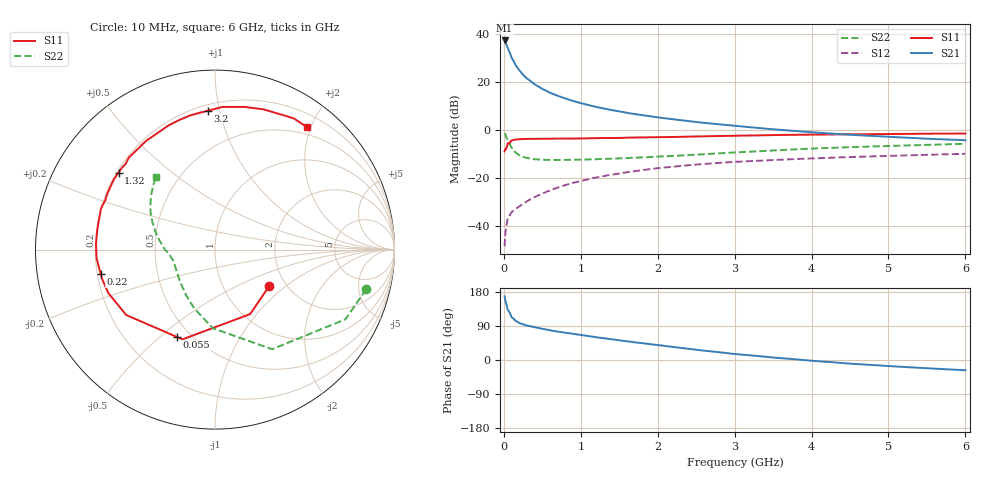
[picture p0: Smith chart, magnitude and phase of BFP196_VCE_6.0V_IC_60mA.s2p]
! Infineon Technologies  Discrete & RF Semiconductors
! BFP196
! VCE = 6.0 V,  IC =  60mA
! Common Emitter S-Parameters:  Jan 2016
# GHz  S  MA  R  50
!  f  S11  S21  S12  S22
! GHz  MAG  ANG  MAG  ANG  MAG  ANG  MAG  ANG
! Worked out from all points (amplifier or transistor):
!   210 points, 10 MHz to 6 GHz, reference 50 ohm
!   highest |S21| = 37.5 dB at 10 MHz (marker M1)
!   |S21| within 3 dB of that: start of sweep to 49.62 MHz
!   unconditionally stable (mu >= 1): 462.1 MHz to 4.493 GHz; 4.526 GHz to 4.809 GHz
!   at 185 MHz: K = 0.73, MSG = 29.0 dB, |S12| = -32.1 dB
!   at 1.52 GHz: K = 1.08, MAG = 11.1 dB, |S12| = -17.9 dB
!   at 6 GHz: K = 0.98, MSG = 2.8 dB, |S12| = -9.8 dB
!   S11 on the Smith chart (normalised r, x): 10 MHz: 1.64, -0.77; 55 MHz: 0.42, -0.57; 220 MHz: 0.21, -0.10; 1.32 GHz: 0.21, +0.34; 3.2 GHz: 0.24, +0.92; 6 GHz: 0.38, +1.93
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0.01  0.3641 -33.8  75.01 168.0  0.0038 81.3  0.8709 -14.7
0.02  0.4092 -61.4  69.64 156.3  0.0072 71.2  0.8241 -28.1
0.05  0.5318 -109.9  52.95 132.7  0.0142 54.2  0.6397 -60.2
0.055  0.5308 -113.6  50.79 131.4  0.0147 53.4  0.6135 -62.3
0.1  0.6143 -143.6  33.15 113.0  0.0195 48.2  0.4376 -91.7
0.15  0.642 -157.9  23.3 103.5  0.0227 49.2  0.3464 -109.7
0.2  0.6505 -165.8  17.87 97.7  0.0255 52.6  0.3018 -121.9
0.22  0.6514 -168.1  16.45 96.3  0.0269 53.3  0.2909 -125.4
0.26  0.6558 -172.5  13.89 93.3  0.0298 54.8  0.2741 -132.4
0.3  0.6616 -175.9  12.06 90.8  0.0328 56.9  0.2644 -137.5
0.4  0.6637 177.5  9.116 86.3  0.0403 60.2  0.2488 -146.9
0.5  0.6643 172.7  7.299 82.3  0.0474 61.7  0.2423 -153.2
0.6  0.6665 167.9  6.087 78.5  0.0556 62.4  0.24 -157.3
0.7  0.6693 163.5  5.242 74.8  0.0633 62.7  0.2395 -160.5
1.02  0.6768 151.7  3.611 65.4  0.0888 60.6  0.2434 -167.5
1.32  0.6877 141.4  2.799 56.8  0.1125 57.3  0.2523 -172.1
2.02  0.718 121.3  1.84 38.8  0.1625 47.5  0.2825 178.5
3.1  0.77 94.9  1.195 14.2  0.2228 31.7  0.35 162.4
3.2  0.775 92.9  1.157 12.4  0.2269 30.2  0.357 160.9
4.1  0.8136 76.8  0.885 -3.4  0.2617 19.0  0.4207 148.7
5.1  0.8389 63.5  0.717 -17.1  0.295 7.8  0.4751 137.9
6  0.8532 53.3  0.62 -27.1  0.3223 -2.0  0.5214 128.8
